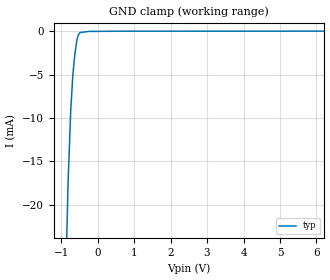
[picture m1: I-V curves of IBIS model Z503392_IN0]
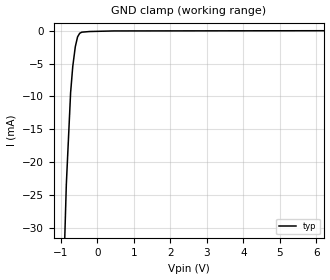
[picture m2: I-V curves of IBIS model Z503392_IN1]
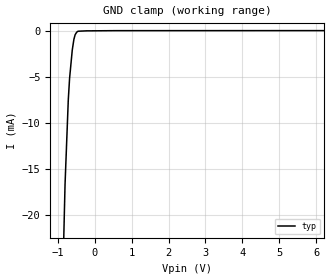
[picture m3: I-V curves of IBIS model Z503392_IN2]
| YOU ARE ONLY AUTHORIZED TO USE THIS SOFTWARE
| ACCORDING TO LICENSOR'S LICENSE RESTRICTIONS.
[IBIS Ver] 3.1
[File Name] mc100h640fn.ibs
[File Rev] 3.0
[Source] Measured and created by ICX Technology
[Date] 2/11/2004
[Copyright]
| (C) COPYRIGHT 1993-2000
| MENTOR GRAPHICS CORPORATION
| ICX STANDARD LIBRARY, ICX PROJECT MODELING,
| ICX CUSTOM MODELING, ICX VENDOR MODEL
| ALL RIGHTS RESERVED.
| THE FOLLOWING ARE TRADEMARKS OR SERVICE MARKS OF
| MENTOR GRAPHICS CORPORATION:ICX (R), ICX STANDARD
| LIBRARY(R), ICX PROJECT MODELING(R), ICX CUSTOM
| MODELING(R), qualityIBIS(TM), MODELVIEWER(TM),
| AND MODELEDITOR(TM)
| ALL COPIES OF SOFTWARE, INCLUDING BUT NOT LIMITED TO
| ANY MODIFICATIONS, ENHANCEMENTS OR DERIVATIVE WORKS,
| MUST CONTAIN ALL MENTOR GRAPHICS CORPORATION'S
| NOTICES AND LEGENDS, INCLUDING THOSE EMBEDDED IN
| SOFTWARE AND THOSE AFFIXED TO SOFTWARE MEDIUM
| AND CONTAINER, AS RECEIVED FROM MENTOR GRAPHICS
| CORPORATION.
|  ZAP Model Builder 2.7
[Component] MC100H640FN
[Manufacturer] OnSemiconductor
[Package]
| variable   typ   min   max
R_pkg  .083ohms NA NA
L_pkg  4.299nH NA NA
C_pkg  1.045pF NA NA
[Pin] signal_name  model_name  R_pin  L_pin C_pin
1 Q3 Z503392_OUT0 .08 3.94n .925p
2 VCC POWER .082 4.14n .995p
3 VCC POWER .084 4.354n 1.065p
4 _Q0 Z503392_OUT1 .086 4.583n 1.135p
5 _Q1 Z503392_OUT1 .086 4.583n 1.135p
6 GROUND GND .084 4.354n 1.065p
7 GROUND GND .082 4.14n .995p
8 Q4 Z503392_OUT2 .08 3.94n .925p
9 Q5 Z503392_OUT2 .082 4.14n .995p
10 VCC POWER .084 4.354n 1.065p
11 SEL Z503392_IN0 .086 4.583n 1.135p
12 DT Z503392_IN1 .086 4.583n 1.135p
13 GROUND GND .084 4.354n 1.065p
14 _R Z503392_IN2 .082 4.14n .995p
15 VCC POWER .08 3.94n .925p
16 DE Z503392_IN3 .082 4.14n .995p
17 _DE Z503392_IN3 .084 4.354n 1.065p
18 VBB POWER .086 4.583n 1.135p
19 VCC POWER .086 4.583n 1.135p
20 Q0 Z503392_OUT0 .084 4.354n 1.065p
21 GROUND GND .082 4.14n .995p
22 GROUND GND .08 3.94n .925p
23 Q1 Z503392_OUT0 .082 4.14n .995p
24 VCC POWER .084 4.354n 1.065p
25 VCC POWER .086 4.583n 1.135p
26 Q2 Z503392_OUT0 .086 4.583n 1.135p
27 GROUND GND .084 4.354n 1.065p
28 GROUND GND .082 4.14n .995p
| Models and submodels in the file (7): Z503392_IN0 (Input), Z503392_IN1 (Input), Z503392_IN2 (Input), Z503392_IN3 (Input), Z503392_OUT0 (Output), Z503392_OUT1 (Output), Z503392_OUT2 (Output)
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| (C) COPYRIGHT 1993-2000
| MENTOR GRAPHICS CORPORATION
| ICX STANDARD LIBRARY, ICX PROJECT MODELING,
| ICX CUSTOM MODELING, ICX VENDOR MODEL
| ALL RIGHTS RESERVED.
| THE FOLLOWING ARE TRADEMARKS OR SERVICE MARKS OF
| MENTOR GRAPHICS CORPORATION:ICX (R), ICX STANDARD
| LIBRARY(R), ICX PROJECT MODELING(R), ICX CUSTOM
| MODELING(R), qualityIBIS(TM), MODELVIEWER(TM),
| AND MODELEDITOR(TM)
| ALL COPIES OF SOFTWARE, INCLUDING BUT NOT LIMITED TO
| ANY MODIFICATIONS, ENHANCEMENTS OR DERIVATIVE WORKS,
| MUST CONTAIN ALL MENTOR GRAPHICS CORPORATION'S
| NOTICES AND LEGENDS, INCLUDING THOSE EMBEDDED IN
| SOFTWARE AND THOSE AFFIXED TO SOFTWARE MEDIUM
| AND CONTAINER, AS RECEIVED FROM MENTOR GRAPHICS
| CORPORATION.
| Model Application Version 1.89 2/18/99.
[Model] Z503392_IN0
Model_type Input
Vinl = 3.525V
Vinh = 3.835V
C_comp 2.000pF NA NA
| variable typ   min   max
[Voltage Range] 5.000V NA NA
[GND Clamp Reference] 0.000V NA NA
[POWER Clamp Reference] 5.000V NA NA
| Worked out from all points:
|   GND clamp passes 1 mA (typ) near -0.57 V on its own axis
[GND Clamp]
-5V       -745.5mA   NA         NA
-810.5mV  -17.63mA   NA         NA
-735.9mV  -9.067mA   NA         NA
-678.6mV  -5.052mA   NA         NA
-620.3mV  -2.532mA   NA         NA
-561.3mV  -896.1uA   NA         NA
-527.3mV  -408.2uA   NA         NA
-484mV    -153.4uA   NA         NA
-242mV    -18.3uA    NA         NA
527.3mV   3.35uA     NA         NA
10V       20.79uA    NA         NA
[POWER Clamp]
-5V       0A         NA         NA
10V       0A         NA         NA
| (C) COPYRIGHT 1993-2000
| MENTOR GRAPHICS CORPORATION
| ICX STANDARD LIBRARY, ICX PROJECT MODELING,
| ICX CUSTOM MODELING, ICX VENDOR MODEL
| ALL RIGHTS RESERVED.
| THE FOLLOWING ARE TRADEMARKS OR SERVICE MARKS OF
| MENTOR GRAPHICS CORPORATION:ICX (R), ICX STANDARD
| LIBRARY(R), ICX PROJECT MODELING(R), ICX CUSTOM
| MODELING(R), qualityIBIS(TM), MODELVIEWER(TM),
| AND MODELEDITOR(TM)
| ALL COPIES OF SOFTWARE, INCLUDING BUT NOT LIMITED TO
| ANY MODIFICATIONS, ENHANCEMENTS OR DERIVATIVE WORKS,
| MUST CONTAIN ALL MENTOR GRAPHICS CORPORATION'S
| NOTICES AND LEGENDS, INCLUDING THOSE EMBEDDED IN
| SOFTWARE AND THOSE AFFIXED TO SOFTWARE MEDIUM
| AND CONTAINER, AS RECEIVED FROM MENTOR GRAPHICS
| CORPORATION.
| Model Application Version 1.89 2/18/99.
[Model] Z503392_IN1
Model_type Input
Vinl = 3.525V
Vinh = 3.835V
C_comp 2.000pF NA NA
| variable typ   min   max
[Voltage Range] 5.000V NA NA
[GND Clamp Reference] 0.000V NA NA
[POWER Clamp Reference] 5.000V NA NA
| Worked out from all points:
|   GND clamp passes 1 mA (typ) near -0.54 V on its own axis
[GND Clamp]
-5V       -812.7mA   NA         NA
-849.4mV  -23.4mA    NA         NA
-732.3mV  -9.435mA   NA         NA
-673.8mV  -5.454mA   NA         NA
-603.4mV  -2.41mA    NA         NA
-541.3mV  -919.5uA   NA         NA
-483.2mV  -378.8uA   NA         NA
-425.5mV  -207.5uA   NA         NA
-212.8mV  -109uA     NA         NA
449.2mV   -20.54uA   NA         NA
10V       35.88uA    NA         NA
[POWER Clamp]
-5V       0A         NA         NA
10V       0A         NA         NA
| (C) COPYRIGHT 1993-2000
| MENTOR GRAPHICS CORPORATION
| ICX STANDARD LIBRARY, ICX PROJECT MODELING,
| ICX CUSTOM MODELING, ICX VENDOR MODEL
| ALL RIGHTS RESERVED.
| THE FOLLOWING ARE TRADEMARKS OR SERVICE MARKS OF
| MENTOR GRAPHICS CORPORATION:ICX (R), ICX STANDARD
| LIBRARY(R), ICX PROJECT MODELING(R), ICX CUSTOM
| MODELING(R), qualityIBIS(TM), MODELVIEWER(TM),
| AND MODELEDITOR(TM)
| ALL COPIES OF SOFTWARE, INCLUDING BUT NOT LIMITED TO
| ANY MODIFICATIONS, ENHANCEMENTS OR DERIVATIVE WORKS,
| MUST CONTAIN ALL MENTOR GRAPHICS CORPORATION'S
| NOTICES AND LEGENDS, INCLUDING THOSE EMBEDDED IN
| SOFTWARE AND THOSE AFFIXED TO SOFTWARE MEDIUM
| AND CONTAINER, AS RECEIVED FROM MENTOR GRAPHICS
| CORPORATION.
| Model Application Version 1.89 2/18/99.
[Model] Z503392_IN2
Model_type Input
Vinl = 3.525V
Vinh = 3.835V
C_comp 2.000pF NA NA
| variable typ   min   max
[Voltage Range] 5.000V NA NA
[GND Clamp Reference] 0.000V NA NA
[POWER Clamp Reference] 5.000V NA NA
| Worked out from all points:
|   GND clamp passes 1 mA (typ) near -0.56 V on its own axis
[GND Clamp]
-5V       -715.9mA   NA         NA
-800.4mV  -16.66mA   NA         NA
-712.9mV  -7.523mA   NA         NA
-677.8mV  -5.177mA   NA         NA
-605.5mV  -2.114mA   NA         NA
-561.1mV  -940.2uA   NA         NA
-527.3mV  -435.4uA   NA         NA
-484.2mV  -158.7uA   NA         NA
-448.8mV  -57.64uA   NA         NA
-224.4mV  -17.69uA   NA         NA
570.8mV   4.566uA    NA         NA
10V       13.13uA    NA         NA
[POWER Clamp]
-5V       0A         NA         NA
10V       0A         NA         NA
